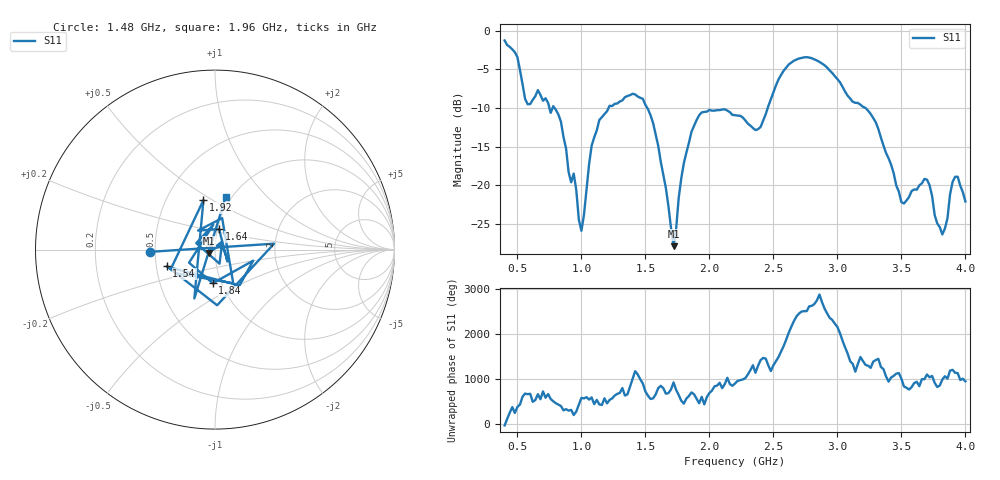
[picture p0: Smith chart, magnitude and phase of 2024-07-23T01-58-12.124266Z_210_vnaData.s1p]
!Created with skrf (http://scikit-rf.org).
# Hz S RI R 50.0
!freq ReS11 ImS11
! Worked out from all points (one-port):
!   181 points, 400 MHz to 4 GHz, reference 50 ohm
!   lowest |S11| = -27.9 dB at 1.72 GHz (marker M1), VSWR 1.08, Z = 46.5 - j1.69 ohm
!   |S11| at or under -10 dB: 789.9 MHz to 1.212 GHz (422.4 MHz wide, 42.2 % of centre); 1.514 GHz to 2.456 GHz (941.5 MHz wide, 47.4 % of centre); 3.22 GHz to end of sweep (the widest 3 of 4)
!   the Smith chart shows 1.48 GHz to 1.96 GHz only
!   S11 on the Smith chart (normalised r, x): 1.48 GHz: 0.47, -0.01; 1.54 GHz: 0.57, -0.11; 1.64 GHz: 1.02, +0.24; 1.84 GHz: 0.91, -0.35; 1.92 GHz: 0.76, +0.46; 1.96 GHz: 0.94, +0.60
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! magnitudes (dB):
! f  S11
! 400 MHz  -1.3
! 500 MHz  -3.4
! 580 MHz  -9.5
! 660 MHz  -7.7
! 860 MHz  -13.8
! 940 MHz  -18.5
! 1 GHz  -25.9
! 1.08 GHz  -14.9
! 1.3 GHz  -9.2
! 1.48 GHz  -8.8
! 1.54 GHz  -10.9
! 1.64 GHz  -18.7
! 1.72 GHz  -27.9
! 1.76 GHz  -21.7
! 1.84 GHz  -14.5
! 1.92 GHz  -10.9
! 1.96 GHz  -10.5
! 2.2 GHz  -10.9
! 2.4 GHz  -12.5
! 2.66 GHz  -3.9
! 3.1 GHz  -8.8
! 3.28 GHz  -11.3
! 3.5 GHz  -22.2
! 3.56 GHz  -21.5
! 3.7 GHz  -19.3
! 3.82 GHz  -26.4
! 3.92 GHz  -18.9
! 4 GHz  -22.1
